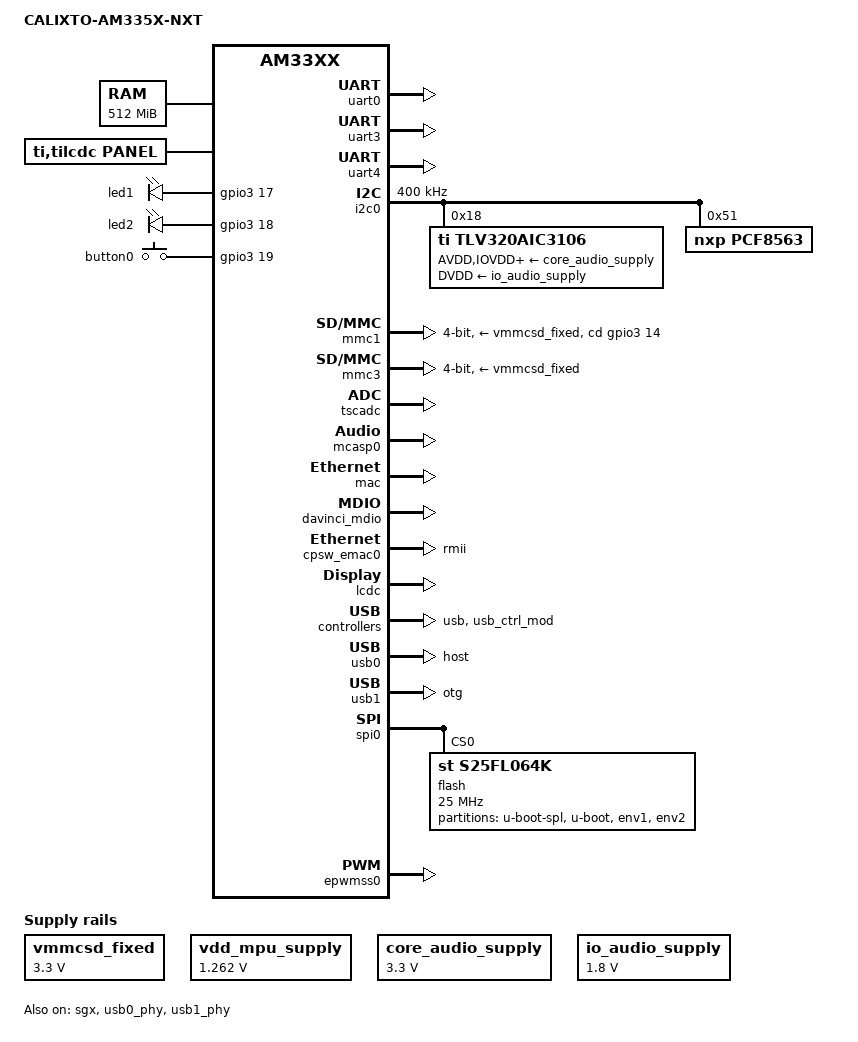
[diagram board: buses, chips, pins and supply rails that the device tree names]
/*
 * Copyright (C) 2020 Calixto Systems Pvt Ltd - http://www.calixto.com/
 *
 * This program is free software; you can redistribute it and/or modify
 * it under the terms of the GNU General Public License version 2 as
 * published by the Free Software Foundation.
 */

/*
 * AM335x CALIXTO STAMP EVM
 * http:// http://www.calixto.co.in/
 * Modified from am335x-evmsk
 * Modified by Vipin Vijayan <vipin.v@calixto.in>
 */

/dts-v1/;

#include "am33xx.dtsi"
#include <dt-bindings/pwm/pwm.h>
#include <dt-bindings/interrupt-controller/irq.h>

/ {
	model = "CALIXTO-AM335X-NXT";
	compatible = "ti,am335x-calixto-nxt", "ti,am33xx";

	cpus {
		cpu@0 {
			cpu0-supply = <&vdd_mpu_supply>;
		};
	};

	memory {
		device_type = "memory";
		reg = <0x80000000 0x20000000>; /* 512MB */
	};

	vmmcsd_fixed: fixedregulator@1 {
                compatible = "regulator-fixed";
                regulator-name = "vmmcsd-regulator";
                regulator-min-microvolt = <3300000>;
                regulator-max-microvolt = <3300000>;
                enable-active-high;
                regulator-always-on;
        };

        vdd_mpu_supply: fixedregulator@2 {
                compatible = "regulator-fixed";
                regulator-name = "vdd-mpu-regulator";
                regulator-min-microvolt = <1262000>;
                regulator-max-microvolt = <1262000>;
                regulator-boot-on;
                regulator-always-on;
        };

	core_audio_supply: fixedregulator-audiocore {
                compatible = "regulator-fixed";
                regulator-name = "core_audio_supply";
                regulator-min-microvolt = <3300000>;
                regulator-max-microvolt = <3300000>;
                regulator-boot-on;
        };

        io_audio_supply: fixedregulator-audioio {
                compatible = "regulator-fixed";
                regulator-name = "io_audio_supply";
                regulator-min-microvolt = <1800000>;
                regulator-max-microvolt = <1800000>;
                regulator-boot-on;
        };

	panel {
                compatible = "ti,tilcdc,panel";
                pinctrl-names = "default", "sleep";
                pinctrl-0 = <&lcd_pins_default>;
                pinctrl-1 = <&lcd_pins_sleep>;
                status = "okay";
                panel-info {
                        ac-bias           = <255>;
                        ac-bias-intrpt    = <0>;
                        dma-burst-sz      = <16>;
                        bpp               = <16>;
                        fdd               = <0x80>;
                        sync-edge         = <0>;
                        sync-ctrl         = <1>;
                        raster-order      = <0>;
                        fifo-th           = <0>;
                };
                display-timings {
                        480x272 {
                          hactive         = <480>;
                          vactive         = <272>;
                          hback-porch     = <2>;
                          hfront-porch    = <2>;
                          hsync-len       = <41>;
                          vback-porch     = <2>;
                          vfront-porch    = <12>;
                          vsync-len       = <10>;
                          clock-frequency = <9000000>;
                          hsync-active    = <0>;
                          vsync-active    = <0>;
			};
                };
        };

	sound {
            compatible = "ti,da830-evm-audio";
            ti,model = "CALIXTO-AM335X-NXT";
            ti,audio-codec = <&tlv320aic3106>;
            ti,mcasp-controller = <&mcasp0>;
            ti,codec-clock-rate = <24576000>;
            ti,audio-routing =
                    "Headphone Jack",       "HPLOUT",
                    "Headphone Jack",       "HPROUT",
                    "Line Out",             "LLOUT",
                    "Line Out",             "RLOUT",
                    "LINE1L",               "Line In",
                    "LINE1R",               "Line In",
                    "MIC3L",                "Mic Jack",
                    "MIC3R",                "Mic Jack";
        };

	leds {
		pinctrl-names = "default", "sleep";
		pinctrl-0 = <&user_leds_default>;
		pinctrl-1 = <&user_leds_sleep>;

		compatible = "gpio-leds";

		led@1 {
			label = "led1";
			gpios = <&gpio3 17 GPIO_ACTIVE_HIGH>;
			linux,default-trigger = "heartbeat";
			default-state = "on";
		};

		led@2 {
			label = "led2";
			gpios = <&gpio3 18 GPIO_ACTIVE_HIGH>;
			linux,default-trigger = "heartbeat";
			default-state = "on";
		};
	};

	gpio_buttons: gpio_buttons@0 {
		compatible = "gpio-keys";
		pinctrl-names = "default";
		pinctrl-0 = <&gpio_keys_s0>;
		#address-cells = <1>;
		#size-cells = <0>;

		switch@1 {
			label = "button0";
			linux,code = <0x100>;
			gpios = <&gpio3 19 GPIO_ACTIVE_HIGH>;
		};
	};

};

&am33xx_pinmux {
	pinctrl-names = "default";
	pinctrl-0 = <&clkout2_pin>;

	user_leds_default: user_leds_default {
		pinctrl-single,pins = <
			AM33XX_IOPAD(0x99C, PIN_OUTPUT_PULLDOWN | MUX_MODE7 ) /* mcasp0_ahclkr.gpio3_17 */
			AM33XX_IOPAD(0x9A0, PIN_OUTPUT_PULLDOWN | MUX_MODE7 ) /* mcasp0_aclkr.gpio3_18 */
		>;
	};

	user_leds_sleep: user_leds_sleep {
		pinctrl-single,pins = <
			AM33XX_IOPAD(0x99C, PIN_INPUT_PULLDOWN | MUX_MODE7 ) /* mcasp0_ahclkr.gpio3_17 */
			AM33XX_IOPAD(0x9A0, PIN_INPUT_PULLDOWN | MUX_MODE7 ) /* mcasp0_aclkr.gpio3_18 */
		>;
	};

	gpio_keys_s0: gpio_keys_s0 {
		pinctrl-single,pins = <
			AM33XX_IOPAD(0x9A4, PIN_INPUT_PULLDOWN | MUX_MODE7 ) /* mcasp0_fsr.gpio3_19 */
		>;
	};

	uart0_pins: pinmux_uart0_pins {
		pinctrl-single,pins = <
			AM33XX_IOPAD(0x970, PIN_INPUT_PULLUP | MUX_MODE0)	/* uart0_rxd.uart0_rxd */
			AM33XX_IOPAD(0x974, PIN_OUTPUT_PULLDOWN | MUX_MODE0)	/* uart0_txd.uart0_txd */
		>;
	};
	
        i2c0_pins: pinmux_i2c0_pins {
               pinctrl-single,pins = <
                       AM33XX_IOPAD(0x988, PIN_INPUT_PULLUP | MUX_MODE0)    /* i2c0_sda.i2c0_sda */
                       AM33XX_IOPAD(0x98c, PIN_INPUT_PULLUP | MUX_MODE0)    /* i2c0_scl.i2c0_scl */
               >;
        };

        uart4_pins: pinmux_uart4_pins {
               pinctrl-single,pins = <
                       AM33XX_IOPAD(0x968, PIN_INPUT_PULLUP    | MUX_MODE1)  /* uart0_ctsn.uart4_rxd */
                       AM33XX_IOPAD(0x96C, PIN_OUTPUT_PULLDOWN | MUX_MODE1)  /* uart0_rtsn.uart4_txd */
               >;
        };

        uart3_pins: pinmux_uart3_pins {
               pinctrl-single,pins = <
                       AM33XX_IOPAD(0x960, PIN_INPUT_PULLUP    | MUX_MODE1)  /* spi0_cs1.uart3_rxd  */
                       AM33XX_IOPAD(0x938, PIN_OUTPUT_PULLDOWN | MUX_MODE1)  /* mii1_rxd2.uart3_txd */
               >;
        };

        clkout2_pin: pinmux_clkout2_pin {
                pinctrl-single,pins = <
                        AM33XX_IOPAD(0x9b4, PIN_OUTPUT_PULLDOWN | MUX_MODE3) /* xdma_event_intr1.clkout2 */
                >;
        };

        mmc1_pins_default: pinmux_mmc1_pins {
                pinctrl-single,pins = <
                        AM33XX_IOPAD(0x8F0, PIN_INPUT_PULLUP | MUX_MODE0)    /* mmc0_dat3.mmc0_dat3 */
                        AM33XX_IOPAD(0x8F4, PIN_INPUT_PULLUP | MUX_MODE0)    /* mmc0_dat2.mmc0_dat2 */
                        AM33XX_IOPAD(0x8F8, PIN_INPUT_PULLUP | MUX_MODE0)    /* mmc0_dat1.mmc0_dat1 */
                        AM33XX_IOPAD(0x8FC, PIN_INPUT_PULLUP | MUX_MODE0)    /* mmc0_dat0.mmc0_dat0 */
                        AM33XX_IOPAD(0x900, PIN_INPUT_PULLUP | MUX_MODE0)    /* mmc0_clk.mmc0_clk */
                        AM33XX_IOPAD(0x904, PIN_INPUT_PULLUP | MUX_MODE0)    /* mmc0_cmd.mmc0_cmd */
                        AM33XX_IOPAD(0x990, PIN_INPUT | MUX_MODE7)           /* mcasp0_aclkx.gpio3_14 */
                >;
        };

	mmc1_pins_sleep: pinmux_mmc1_pins_sleep {
                pinctrl-single,pins = <
                        AM33XX_IOPAD(0x8F0, PIN_INPUT_PULLDOWN | MUX_MODE7)
                        AM33XX_IOPAD(0x8F4, PIN_INPUT_PULLDOWN | MUX_MODE7)
                        AM33XX_IOPAD(0x8F8, PIN_INPUT_PULLDOWN | MUX_MODE7)
                        AM33XX_IOPAD(0x8FC, PIN_INPUT_PULLDOWN | MUX_MODE7)
                        AM33XX_IOPAD(0x900, PIN_INPUT_PULLDOWN | MUX_MODE7)
                        AM33XX_IOPAD(0x904, PIN_INPUT_PULLDOWN | MUX_MODE7)
                        AM33XX_IOPAD(0x990, PIN_INPUT | MUX_MODE7)
                >;
        };

	emmc_pins: pinmux_emmc_pins {
		pinctrl-single,pins = <
			AM33XX_IOPAD(0x88C, PIN_INPUT_PULLUP | MUX_MODE3) /* gpmc_clk.mmc2_clk */
			AM33XX_IOPAD(0x888, PIN_INPUT_PULLUP | MUX_MODE3) /* gpmc_csn3.mmc2_cmd */
			AM33XX_IOPAD(0x830, PIN_INPUT_PULLUP | MUX_MODE3) /* gpmc_ad12.mmc2_dat0 */
			AM33XX_IOPAD(0x834, PIN_INPUT_PULLUP | MUX_MODE3) /* gpmc_ad13.mmc2_dat1 */
			AM33XX_IOPAD(0x838, PIN_INPUT_PULLUP | MUX_MODE3) /* gpmc_ad14.mmc2_dat2 */
			AM33XX_IOPAD(0x83C, PIN_INPUT_PULLUP | MUX_MODE3) /* gpmc_ad15.mmc2_dat3 */
		>;
	};

	cpsw_default: cpsw_default {
		pinctrl-single,pins = <
			/* Slave 1 */
			AM33XX_IOPAD(0x90c, PIN_INPUT_PULLDOWN  | MUX_MODE1)  /* mii1_crs.rmii1_crs_dv */
			AM33XX_IOPAD(0x910, PIN_INPUT_PULLDOWN  | MUX_MODE1)  /* mii1_rxerr.mii1_rxerr */
			AM33XX_IOPAD(0x914, PIN_OUTPUT_PULLDOWN | MUX_MODE1)  /* mii1_txen.mii1_txen   */
			AM33XX_IOPAD(0x924, PIN_OUTPUT_PULLDOWN | MUX_MODE1)  /* mii1_txd1.mii1_txd1   */
			AM33XX_IOPAD(0x928, PIN_OUTPUT_PULLDOWN | MUX_MODE1)  /* mii1_txd0.mii1_txd0   */
			AM33XX_IOPAD(0x93c, PIN_INPUT_PULLDOWN  | MUX_MODE1)  /* mii1_rxd1.mii1_rxd2   */
			AM33XX_IOPAD(0x940, PIN_INPUT_PULLDOWN  | MUX_MODE1)  /* mii1_rxd0.mii1_rxd0   */
			AM33XX_IOPAD(0x944, PIN_INPUT_PULLDOWN  | MUX_MODE0)  /* rmii1_refclk.rmii1_refclk */
		>;
	};

	cpsw_sleep: cpsw_sleep {
		pinctrl-single,pins = <
			/* Slave 1 reset value */
			AM33XX_IOPAD(0x90c, PIN_INPUT_PULLDOWN | MUX_MODE7)
			AM33XX_IOPAD(0x910, PIN_INPUT_PULLDOWN | MUX_MODE7)
			AM33XX_IOPAD(0x914, PIN_INPUT_PULLDOWN | MUX_MODE7)
			AM33XX_IOPAD(0x924, PIN_INPUT_PULLDOWN | MUX_MODE7)
			AM33XX_IOPAD(0x928, PIN_INPUT_PULLDOWN | MUX_MODE7)
			AM33XX_IOPAD(0x93c, PIN_INPUT_PULLDOWN | MUX_MODE7)
			AM33XX_IOPAD(0x940, PIN_INPUT_PULLDOWN | MUX_MODE7)
			AM33XX_IOPAD(0x944, PIN_INPUT_PULLDOWN | MUX_MODE7)
		>;
	};

	davinci_mdio_default: davinci_mdio_default {
		pinctrl-single,pins = <
			/* MDIO */
			AM33XX_IOPAD(0x948, PIN_INPUT_PULLUP  | SLEWCTRL_FAST | MUX_MODE0)	/* mdio_data.mdio_data */
			AM33XX_IOPAD(0x94c, PIN_OUTPUT_PULLUP | MUX_MODE0)			/* mdio_clk.mdio_clk */
		>;
	};

	davinci_mdio_sleep: davinci_mdio_sleep {
		pinctrl-single,pins = <
			/* MDIO reset value */
			AM33XX_IOPAD(0x948, PIN_INPUT_PULLDOWN | MUX_MODE7)
			AM33XX_IOPAD(0x94c, PIN_INPUT_PULLDOWN | MUX_MODE7)
		>;
	};

	lcd_pins_default: lcd_pins_default {
                pinctrl-single,pins = <
			AM33XX_IOPAD(0x8a0, PIN_OUTPUT | MUX_MODE0)	/* lcd_data0.lcd_data0 */
			AM33XX_IOPAD(0x8a4, PIN_OUTPUT | MUX_MODE0)	/* lcd_data1.lcd_data1 */
			AM33XX_IOPAD(0x8a8, PIN_OUTPUT | MUX_MODE0)	/* lcd_data2.lcd_data2 */
			AM33XX_IOPAD(0x8ac, PIN_OUTPUT | MUX_MODE0)	/* lcd_data3.lcd_data3 */
			AM33XX_IOPAD(0x8b0, PIN_OUTPUT | MUX_MODE0)	/* lcd_data4.lcd_data4 */
			AM33XX_IOPAD(0x8b4, PIN_OUTPUT | MUX_MODE0)	/* lcd_data5.lcd_data5 */
			AM33XX_IOPAD(0x8b8, PIN_OUTPUT | MUX_MODE0)	/* lcd_data6.lcd_data6 */
			AM33XX_IOPAD(0x8bc, PIN_OUTPUT | MUX_MODE0)	/* lcd_data7.lcd_data7 */
			AM33XX_IOPAD(0x8c0, PIN_OUTPUT | MUX_MODE0)	/* lcd_data8.lcd_data8 */
			AM33XX_IOPAD(0x8c4, PIN_OUTPUT | MUX_MODE0)	/* lcd_data9.lcd_data9 */
			AM33XX_IOPAD(0x8c8, PIN_OUTPUT | MUX_MODE0)	/* lcd_data10.lcd_data10 */
			AM33XX_IOPAD(0x8cc, PIN_OUTPUT | MUX_MODE0)	/* lcd_data11.lcd_data11 */
			AM33XX_IOPAD(0x8d0, PIN_OUTPUT | MUX_MODE0)	/* lcd_data12.lcd_data12 */
			AM33XX_IOPAD(0x8d4, PIN_OUTPUT | MUX_MODE0)	/* lcd_data13.lcd_data13 */
			AM33XX_IOPAD(0x8d8, PIN_OUTPUT | MUX_MODE0)	/* lcd_data14.lcd_data14 */
			AM33XX_IOPAD(0x8dc, PIN_OUTPUT | MUX_MODE0)	/* lcd_data15.lcd_data15 */
			AM33XX_IOPAD(0x8e0, PIN_OUTPUT | MUX_MODE0)	/* lcd_vsync.lcd_vsync */
			AM33XX_IOPAD(0x8e4, PIN_OUTPUT | MUX_MODE0)	/* lcd_hsync.lcd_hsync */
			AM33XX_IOPAD(0x8e8, PIN_OUTPUT | MUX_MODE0)	/* lcd_pclk.lcd_pclk */
			AM33XX_IOPAD(0x8ec, PIN_OUTPUT | MUX_MODE0)	/* lcd_ac_bias_en.lcd_ac_bias_en */
                >;
         };

	 lcd_pins_sleep: lcd_pins_sleep {
                pinctrl-single,pins = <
			AM33XX_IOPAD(0x8a0, PULL_DISABLE | MUX_MODE7)	/* lcd_data0.lcd_data0 */
			AM33XX_IOPAD(0x8a4, PULL_DISABLE | MUX_MODE7)	/* lcd_data1.lcd_data1 */
			AM33XX_IOPAD(0x8a8, PULL_DISABLE | MUX_MODE7)	/* lcd_data2.lcd_data2 */
			AM33XX_IOPAD(0x8ac, PULL_DISABLE | MUX_MODE7)	/* lcd_data3.lcd_data3 */
			AM33XX_IOPAD(0x8b0, PULL_DISABLE | MUX_MODE7)	/* lcd_data4.lcd_data4 */
			AM33XX_IOPAD(0x8b4, PULL_DISABLE | MUX_MODE7)	/* lcd_data5.lcd_data5 */
			AM33XX_IOPAD(0x8b8, PULL_DISABLE | MUX_MODE7)	/* lcd_data6.lcd_data6 */
			AM33XX_IOPAD(0x8bc, PULL_DISABLE | MUX_MODE7)	/* lcd_data7.lcd_data7 */
			AM33XX_IOPAD(0x8c0, PULL_DISABLE | MUX_MODE7)	/* lcd_data8.lcd_data8 */
			AM33XX_IOPAD(0x8c4, PULL_DISABLE | MUX_MODE7)	/* lcd_data9.lcd_data9 */
			AM33XX_IOPAD(0x8c8, PULL_DISABLE | MUX_MODE7)	/* lcd_data10.lcd_data10 */
			AM33XX_IOPAD(0x8cc, PULL_DISABLE | MUX_MODE7)	/* lcd_data11.lcd_data11 */
			AM33XX_IOPAD(0x8d0, PULL_DISABLE | MUX_MODE7)	/* lcd_data12.lcd_data12 */
			AM33XX_IOPAD(0x8d4, PULL_DISABLE | MUX_MODE7)	/* lcd_data13.lcd_data13 */
			AM33XX_IOPAD(0x8d8, PULL_DISABLE | MUX_MODE7)	/* lcd_data14.lcd_data14 */
			AM33XX_IOPAD(0x8dc, PULL_DISABLE | MUX_MODE7)	/* lcd_data15.lcd_data15 */
			AM33XX_IOPAD(0x8e0, PIN_INPUT_PULLDOWN | MUX_MODE7)	/* lcd_vsync.lcd_vsync */
			AM33XX_IOPAD(0x8e4, PIN_INPUT_PULLDOWN | MUX_MODE7)	/* lcd_hsync.lcd_hsync */
			AM33XX_IOPAD(0x8e8, PIN_INPUT_PULLDOWN | MUX_MODE7)	/* lcd_pclk.lcd_pclk */
			AM33XX_IOPAD(0x8ec, PIN_INPUT_PULLDOWN | MUX_MODE7)	/* lcd_ac_bias_en.lcd_ac_bias_en */
                >;
        };

	mcasp0_pins: mcasp0_pins {
                pinctrl-single,pins = <
                        AM33XX_IOPAD(0x92C, PIN_INPUT_PULLDOWN  | MUX_MODE6) /* mii1_txclk.mcasp0_aclkx */
                        AM33XX_IOPAD(0x994, PIN_INPUT_PULLDOWN  | MUX_MODE0) /* mcasp0_fsx.mcasp0_fsx   */
                        AM33XX_IOPAD(0x934, PIN_OUTPUT_PULLDOWN | MUX_MODE6) /* mii1_rxd3.mcasp0_axr0   */
                        AM33XX_IOPAD(0x9A8, PIN_INPUT_PULLDOWN  | MUX_MODE0) /* mcasp0_axr1.mcasp0_axr1 */
                >;
        };

        mcasp0_sleep_pins: mcasp0_sleep_pins {
                pinctrl-single,pins = <
                        AM33XX_IOPAD(0x92C, PIN_INPUT_PULLDOWN | MUX_MODE7)
                        AM33XX_IOPAD(0x994, PIN_INPUT_PULLDOWN | MUX_MODE7)
                        AM33XX_IOPAD(0x934, PIN_INPUT_PULLDOWN | MUX_MODE7)
                        AM33XX_IOPAD(0x9A8, PIN_INPUT_PULLDOWN | MUX_MODE7)
                >;
        };

	nandflash_pins_default: nandflash_pins_default {
                pinctrl-single,pins = <
                        AM33XX_IOPAD(0x800, PIN_INPUT_PULLUP | MUX_MODE0)      /* gpmc_ad0.gpmc_ad0 */
                        AM33XX_IOPAD(0x804, PIN_INPUT_PULLUP | MUX_MODE0)      /* gpmc_ad1.gpmc_ad1 */
                        AM33XX_IOPAD(0x808, PIN_INPUT_PULLUP | MUX_MODE0)      /* gpmc_ad2.gpmc_ad2 */
                        AM33XX_IOPAD(0x80c, PIN_INPUT_PULLUP | MUX_MODE0)      /* gpmc_ad3.gpmc_ad3 */
                        AM33XX_IOPAD(0x810, PIN_INPUT_PULLUP | MUX_MODE0)     /* gpmc_ad4.gpmc_ad4 */
                        AM33XX_IOPAD(0x814, PIN_INPUT_PULLUP | MUX_MODE0)     /* gpmc_ad5.gpmc_ad5 */
                        AM33XX_IOPAD(0x818, PIN_INPUT_PULLUP | MUX_MODE0)     /* gpmc_ad6.gpmc_ad6 */
                        AM33XX_IOPAD(0x81c, PIN_INPUT_PULLUP | MUX_MODE0)     /* gpmc_ad7.gpmc_ad7 */
                        AM33XX_IOPAD(0x870, PIN_INPUT_PULLUP | MUX_MODE0)     /* gpmc_wait0.gpmc_wait0 */
                        AM33XX_IOPAD(0x87c, PIN_OUTPUT | MUX_MODE0)           /* gpmc_csn0.gpmc_csn0  */
                        AM33XX_IOPAD(0x890, PIN_OUTPUT | MUX_MODE0)           /* gpmc_advn_ale.gpmc_advn_ale */
                        AM33XX_IOPAD(0x894, PIN_OUTPUT | MUX_MODE0)           /* gpmc_oen_ren.gpmc_oen_ren */
                        AM33XX_IOPAD(0x898, PIN_OUTPUT | MUX_MODE0)           /* gpmc_wen.gpmc_wen */
                        AM33XX_IOPAD(0x89c, PIN_OUTPUT | MUX_MODE0)           /* gpmc_be0n_cle.gpmc_be0n_cle */
                >;
        };

	nandflash_pins_sleep: nandflash_pins_sleep {
                pinctrl-single,pins = <
                        AM33XX_IOPAD(0x800, PIN_INPUT_PULLDOWN | MUX_MODE7)
                        AM33XX_IOPAD(0x804, PIN_INPUT_PULLDOWN | MUX_MODE7)
                        AM33XX_IOPAD(0x808, PIN_INPUT_PULLDOWN | MUX_MODE7)
                        AM33XX_IOPAD(0x80c, PIN_INPUT_PULLDOWN | MUX_MODE7)
                        AM33XX_IOPAD(0x810, PIN_INPUT_PULLDOWN | MUX_MODE7)
                        AM33XX_IOPAD(0x814, PIN_INPUT_PULLDOWN | MUX_MODE7)
                        AM33XX_IOPAD(0x818, PIN_INPUT_PULLDOWN | MUX_MODE7)
                        AM33XX_IOPAD(0x81c, PIN_INPUT_PULLDOWN | MUX_MODE7)
                        AM33XX_IOPAD(0x870, PIN_INPUT_PULLDOWN | MUX_MODE7)
                        AM33XX_IOPAD(0x874, PIN_INPUT_PULLDOWN | MUX_MODE7)
                        AM33XX_IOPAD(0x87c, PIN_INPUT_PULLDOWN | MUX_MODE7)
                        AM33XX_IOPAD(0x890, PIN_INPUT_PULLDOWN | MUX_MODE7)
                        AM33XX_IOPAD(0x894, PIN_INPUT_PULLDOWN | MUX_MODE7)
                        AM33XX_IOPAD(0x898, PIN_INPUT_PULLDOWN | MUX_MODE7)
                        AM33XX_IOPAD(0x89c, PIN_INPUT_PULLDOWN | MUX_MODE7)
                >;
        };

	spi0_pins: pinmux_spi0_pins {
		pinctrl-single,pins = <
			AM33XX_IOPAD(0x950, PIN_INPUT_PULLUP | MUX_MODE0 ) /* (A17) spi0_sclk.spi0_sclk */
			AM33XX_IOPAD(0x954, PIN_INPUT_PULLUP | MUX_MODE0 ) /* (B17) spi0_d0.spi0_d0 */
			AM33XX_IOPAD(0x958, PIN_OUTPUT_PULLUP | MUX_MODE0 ) /* (B16) spi0_d1.spi0_d1 */
			AM33XX_IOPAD(0x95c, PIN_OUTPUT_PULLUP | MUX_MODE0 ) /* (A16) spi0_cs0.spi0_cs0 */
		>;
	};

	ecap0_pins_default: ecap0_pins_default {
		pinctrl-single,pins = <
			AM33XX_IOPAD(0x964, PIN_OUTPUT | MUX_MODE0 ) /* (E18) eCAP0_in_PWM0_out.eCAP0_in_PWM0_out */
		>;
	};

};

&uart0 {
	pinctrl-names = "default";
	pinctrl-0 = <&uart0_pins>;
	status = "okay";
};

&uart3 {
        pinctrl-names = "default";
        pinctrl-0 = <&uart3_pins>;
        status = "okay";
};

&uart4 {
        pinctrl-names = "default";
        pinctrl-0 = <&uart4_pins>;
        status = "okay";
};

&i2c0 {
        pinctrl-names = "default";
        pinctrl-0 = <&i2c0_pins>;
        status = "okay";
        clock-frequency = <400000>;
	
	  tlv320aic3106: tlv320aic3106@18 {
             	compatible = "ti,tlv320aic3106";
             	reg = <0x18>;
             	ai3x-micbias-vg = <1>;
             	status = "okay";

             	/* Regulators */
             	AVDD-supply  = <&core_audio_supply>;
            	IOVDD-supply = <&core_audio_supply>;
             	DRVDD-supply = <&core_audio_supply>;
             	DVDD-supply  = <&io_audio_supply>;
	  };
	
	  pcf8563: pcf8563@51 {
          	compatible = "nxp,pcf8563";
             	reg = <0x51>;
          };
};

&mmc1 {
	status = "okay";
	vmmc-supply = <&vmmcsd_fixed>;
	bus-width = <4>;
	pinctrl-names = "default", "sleep";
	pinctrl-0 = <&mmc1_pins_default>;
	pinctrl-1 = <&mmc1_pins_sleep>;
	cd-gpios = <&gpio3 14 GPIO_ACTIVE_HIGH>;
};

&mmc3 {
	status = "okay";
	pinctrl-names = "default";
	pinctrl-0 = <&emmc_pins>;
        vmmc-supply = <&vmmcsd_fixed>;
	bus-width = <4>;
	ti,non-removable;
	dmas = <&edma_xbar 12 0 1
                &edma_xbar 13 0 2>;
        dma-names = "tx", "rx";
};

&tscadc {
        status = "okay";
        tsc {
                ti,wires = <4>;
                ti,x-plate-resistance = <200>;
                ti,coordinate-readouts = <5>;
                ti,wire-config = <0x00 0x11 0x22 0x33>;
        };
        adc {
                ti,adc-channels = <4 5 6 7>;
        };
};

&mcasp0 {
          pinctrl-names = "default", "sleep";
          pinctrl-0 = <&mcasp0_pins>;
          pinctrl-1 = <&mcasp0_sleep_pins>;

          status = "okay";

          op-mode = <0>;          /* MCASP_IIS_MODE */
          tdm-slots = <2>;
          /* 16 serializer */
          serial-dir = <  /* 0: INACTIVE, 1: TX, 2: RX */
                 1 2 0 0
          >;
          tx-num-evt = <32>;
          rx-num-evt = <32>;
};

&mac {
	slaves = <1>;
	pinctrl-names = "default", "sleep";
	pinctrl-0 = <&cpsw_default>;
	pinctrl-1 = <&cpsw_sleep>;
	status = "okay";
};

&davinci_mdio {
	pinctrl-names = "default", "sleep";
	pinctrl-0 = <&davinci_mdio_default>;
	pinctrl-1 = <&davinci_mdio_sleep>;
	status = "okay";
};

&cpsw_emac0 {
	phy_id = <&davinci_mdio>, <0>;
	phy-mode = "rmii";
};

&phy_sel {
	rmii-clock-ext;
};

&rtc {
	system-power-controller;
};

&lcdc {
      status = "okay";
};

&sgx {
      status = "okay";
};

&usb {
      status = "okay";
};

&usb_ctrl_mod {
      status = "okay";
};

&usb0_phy {
     status = "okay";
};

&usb1_phy {
     status = "okay";
};

&usb0 {
     status = "okay";
     dr_mode = "host";
};

&usb1 {
     status = "okay";
     dr_mode = "otg";
};

&cppi41dma  {
     status = "okay";
};

/*
 * SPI Flash (1MiB)
 * 0x000000 - 0x01FFFF : SPL (128KiB)
 * 0x020000 - 0x09FFFF : U-Boot (512KiB)
 * 0x0A0000 - 0x0BFFFF : First copy of U-Boot Environment (128KiB)
 * 0x0C0000 - 0x0DFFFF : Second copy of U-Boot Environment (128KiB)
 */
&spi0 {
	pinctrl-names = "default";
	pinctrl-0 = <&spi0_pins>;
	status = "okay";

	flash: s25fl064k@0 {
		 #address-cells = <1>;
		 #size-cells = <1>;
		 compatible = "st,s25fl064k";
		 spi-max-frequency = <25000000>;
		 reg = <0>;


		 partition@0 {
			 label = "u-boot-spl";
			 reg = <0x000000 0x020000>;
		 };


		 partition@1 {
			 label = "u-boot";
			 reg = <0x020000 0x080000>;
		 };

		 partition@2 {
			 label = "env1";
			 reg = <0x0A0000 0x010000>;
		 };

		 partition@3 {
			 label = "env2";
			 reg = <0x0B0000 0x010000>;
		 };

	};
};

&epwmss0 {
	status = "okay";

	ecap0: ecap@48300100 {
		status = "okay";
		pinctrl-names = "default";
		pinctrl-0 = <&ecap0_pins_default>;
	};
};
